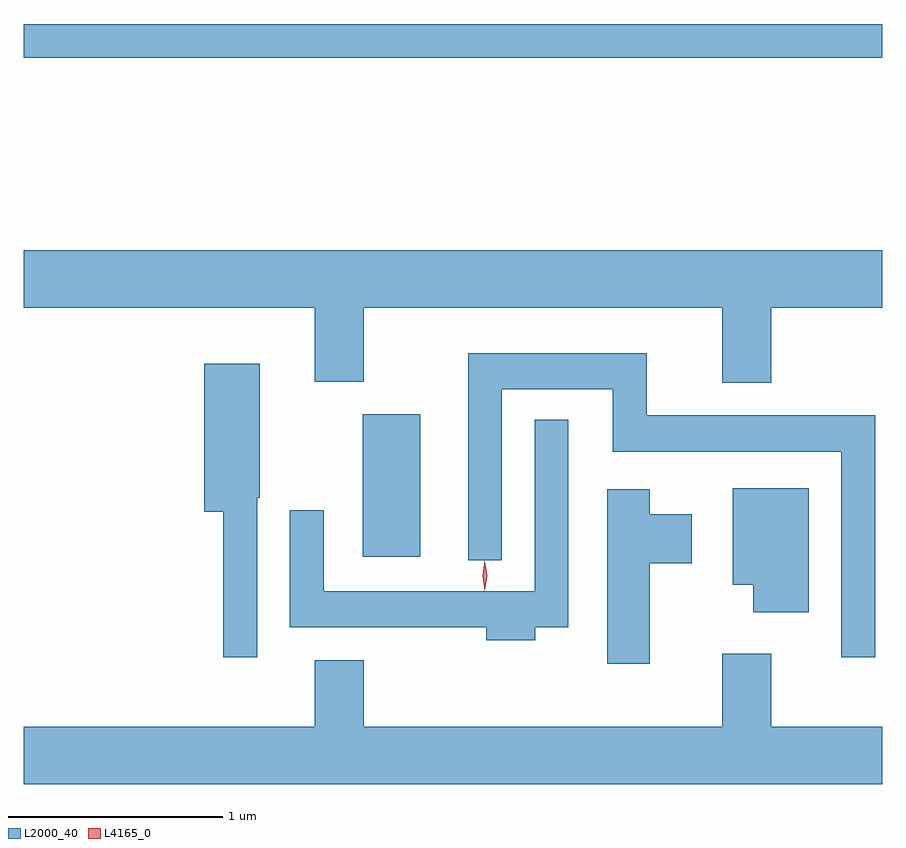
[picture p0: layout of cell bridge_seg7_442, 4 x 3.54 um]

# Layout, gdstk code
import gdstk
lib = gdstk.Library(unit=1e-6, precision=1e-09)
def R(c, l, rs):  # rectangles x0, y0, x1, y1
    for r in rs: c.add(gdstk.rectangle(r[:2], r[2:], *l))
def P(c, l, *ps):  # polygons
    for p in ps: c.add(gdstk.Polygon(p, *l))
L2000_40 = (2000, 40)
L4165_0 = (4165, 0)

bridge_seg7_442 = lib.new_cell('bridge_seg7_442')
R(bridge_seg7_442, L2000_40, [(1148.406,1713.156,1148.674,1713.819), (1146.826,1715.481,1150.826,1715.639)])
P(bridge_seg7_442, L2000_40, [(1150.309,1714.316),(1150.826,1714.316),(1150.826,1714.584),(1146.826,1714.584),(1146.826,1714.316),(1148.181,1714.316),(1148.181,1713.971),(1148.409,1713.971),(1148.409,1714.316),(1150.081,1714.316),(1150.081,1713.966),(1150.309,1713.966)],
  [(1150.794,1713.814),(1149.729,1713.814),(1149.729,1714.104),(1148.896,1714.104),(1148.896,1713.138),(1149.054,1713.138),(1149.054,1713.936),(1149.571,1713.936),(1149.571,1713.646),(1150.636,1713.646),(1150.636,1712.688),(1150.794,1712.688)],
  [(1147.914,1713.43),(1147.924,1713.43),(1147.924,1714.054),(1147.666,1714.054),(1147.666,1713.366),(1147.756,1713.366),(1147.756,1712.688),(1147.914,1712.688)],
  [(1149.209,1712.826),(1149.364,1712.826),(1149.364,1713.793),(1149.206,1713.793),(1149.206,1712.994),(1148.224,1712.994),(1148.224,1713.373),(1148.066,1713.373),(1148.066,1712.826),(1148.981,1712.826),(1148.981,1712.766),(1149.209,1712.766)],
  [(1150.484,1713.474),(1150.131,1713.474),(1150.131,1713.026),(1150.226,1713.026),(1150.226,1712.896),(1150.484,1712.896)],
  [(1149.744,1713.126),(1149.939,1713.126),(1149.939,1713.354),(1149.744,1713.354),(1149.744,1713.469),(1149.546,1713.469),(1149.546,1712.656),(1149.744,1712.656)],
  [(1150.826,1712.364),(1150.309,1712.364),(1150.309,1712.704),(1150.081,1712.704),(1150.081,1712.364),(1148.409,1712.364),(1148.409,1712.674),(1148.181,1712.674),(1148.181,1712.364),(1146.826,1712.364),(1146.826,1712.096),(1150.826,1712.096)])
P(bridge_seg7_442, L4165_0, [(1148.975,1712.999),(1148.974,1713),(1148.965,1713.066),(1148.974,1713.132),(1148.975,1713.133),(1148.975,1713.132),(1148.985,1713.066),(1148.975,1713)],
  [(1148.974,1712.997),(1148.965,1713.066),(1148.974,1713.136),(1148.975,1713.136),(1148.975,1713.136),(1148.985,1713.066),(1148.975,1712.997),(1148.975,1712.997)])

lib.write_gds('bridge_seg7_442.gds')
